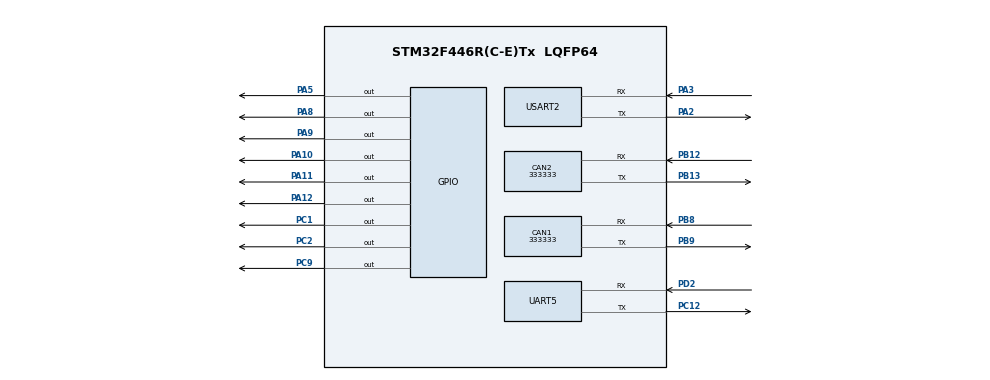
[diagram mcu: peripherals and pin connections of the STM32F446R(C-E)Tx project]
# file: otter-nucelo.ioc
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CAN1.CalculateBaudRate=333333
CAN1.CalculateTimeBit=3000
CAN1.CalculateTimeQuantum=1000.0
CAN2.CalculateBaudRate=333333
CAN2.CalculateTimeBit=3000
CAN2.CalculateTimeQuantum=1000.0
Mcu.Family=STM32F4
Mcu.Name=STM32F446R(C-E)Tx
Mcu.Package=LQFP64
NVIC.PriorityGroup=NVIC_PRIORITYGROUP_4
PA10.Signal=GPIO_Output
PA11.Signal=GPIO_Output
PA12.Signal=GPIO_Output
PA2.Mode=Asynchronous
PA2.Signal=USART2_TX
PA3.Mode=Asynchronous
PA3.Signal=USART2_RX
PA5.Signal=GPIO_Output
PA8.Signal=GPIO_Output
PA9.Signal=GPIO_Output
PB12.Mode=CAN_Activate
PB12.Signal=CAN2_RX
PB13.Mode=CAN_Activate
PB13.Signal=CAN2_TX
PB8.Mode=CAN_Activate
PB8.Signal=CAN1_RX
PB9.Mode=CAN_Activate
PB9.Signal=CAN1_TX
PC1.Signal=GPIO_Output
PC12.Mode=Asynchronous
PC12.Signal=UART5_TX
PC2.Signal=GPIO_Output
PC9.Signal=GPIO_Output
PD2.Mode=Asynchronous
PD2.Signal=UART5_RX
ProjectManager.HeapSize=0x200
ProjectManager.StackSize=0x400
ProjectManager.TargetToolchain=STM32CubeIDE
RCC.CortexFreq_Value=16000000
RCC.USBFreq_Value=96000000
RCC.VCOOutputFreq_Value=192000000
UART5.VirtualMode=Asynchronous
USART2.VirtualMode=VM_ASYNC
board=custom

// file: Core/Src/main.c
/**
  ******************************************************************************
  * @file           : main.c
  * @brief          : Main program body
  ******************************************************************************
  * @attention
  *
  * Copyright (c) 2025 STMicroelectronics.
  * All rights reserved.
  *
  * This software is licensed under terms that can be found in the LICENSE file
  * in the root directory of this software component.
  * If no LICENSE file comes with this software, it is provided AS-IS.
  *
  ******************************************************************************
  */
/* USER CODE END Header */
#include "main.h"
#include "stm32f4xx_hal.h"

CAN_HandleTypeDef hcan1;
CAN_HandleTypeDef hcan2;

UART_HandleTypeDef huart5;
UART_HandleTypeDef huart2;

void SystemClock_Config(void);
static void MX_GPIO_Init(void);
static void MX_CAN1_Init(void);
static void MX_CAN2_Init(void);
static void MX_UART5_Init(void);
static void MX_USART2_UART_Init(void);

int main(void)
{

  /* MCU Configuration--------------------------------------------------------*/

  /* Reset of all peripherals, Initializes the Flash interface and the Systick. */
  HAL_Init();

  /* Configure the system clock */
  SystemClock_Config();

  /* Initialize all configured peripherals */
  MX_GPIO_Init();
  MX_CAN1_Init();
  MX_CAN2_Init();
  MX_UART5_Init();
  MX_USART2_UART_Init();
  /* USER CODE BEGIN 2 */
  HAL_GPIO_TogglePin(GPIOA, GPIO_PIN_5);
  HAL_Delay(1000);
  HAL_GPIO_TogglePin(GPIOA, GPIO_PIN_5);
  // HAL_Delay(1000);
  /* USER CODE END 2 */

  /* Infinite loop */
  /* USER CODE BEGIN WHILE */
  char buffer[] = { 'H', 'e', 'l', 'l', 'o', '\0' }; // Manual

  CAN_FilterTypeDef filterConfig;

  // Set the bits of the 32bit ID Register
    // Note: does not matter what these are since Mask will be 0x00000000
  filterConfig.FilterIdHigh = 0x0000;
  filterConfig.FilterIdLow = 0x0000;

  // Set the bits of the MASK Register. If a bit is set, the corresponding bit of the
    // received ID will be compared with the corresponding bit of the ID Register. If
    // all bits that the mask requies to be checked match, then the CAN ID is accepted.
  filterConfig.FilterMaskIdHigh = 0x0000;
  filterConfig.FilterMaskIdLow = 0x0000;
    // B/c we want to receive all CAN IDs, do not check any bits

  filterConfig.FilterFIFOAssignment = CAN_RX_FIFO0;

  // This struct if for filter bank 0
    // Note: can call the config filter with this struct again but change which
    // bank we are talking about.
  filterConfig.FilterBank = 0;

  // 2 Options: MASK mode or LIST mode
    // Mask mode: use the Mask to compare the bits
    // List mode: you can only compare and accept two CAN IDs (if 32 bit ID register) or four CAN IDs (if two 16 bit regsiters)
  filterConfig.FilterMode = CAN_FILTERMODE_IDMASK;

  // 32 bit ID vs two 16 bit ID register
    // For us does not matter b/c its just all 0s
  filterConfig.FilterScale = CAN_FILTERSCALE_32BIT;

  // Enable this filter bank
  filterConfig.FilterActivation = ENABLE;

  // We are not giving any filters to the slave can (CAN2)
    // We are only using CAN1 and CAN3
  filterConfig.SlaveStartFilterBank = 0;

  HAL_CAN_ConfigFilter(&hcan1, &filterConfig);

  // temp
  HAL_CAN_Start(&hcan1);

  CAN_TxHeaderTypeDef   TxHeader;
  uint32_t              TxMailbox;  // while mailbox gets used is written here
  uint8_t               TxData[8];

  TxHeader.StdId = 0x11;
  TxHeader.RTR = CAN_RTR_DATA;
  TxHeader.IDE = CAN_ID_STD;
  TxHeader.DLC = 2;
  TxHeader.TransmitGlobalTime = DISABLE;

  TxData[0] = 0xCA;
  TxData[1] = 0xFE;

  // while(HAL_CAN_GetTxMailboxesFreeLevel(&hcan1) != 3) {}

  while(1){
    HAL_Delay(100);
    /* Request transmission */

    // Wait for HAL Okay
    HAL_CAN_AddTxMessage(&hcan1, &TxHeader, TxData, &TxMailbox);
    // if(HAL_CAN_AddTxMessage(&hcan1, &TxHeader, TxData, &TxMailbox) != HAL_OK)
    // {
    //   while(1){
    //     HAL_Delay(100);
    //     HAL_GPIO_TogglePin(GPIOA, GPIO_PIN_5);
    //   }
    // }

    // Wait for the transmit to actuall happen
    // while (1) {
    //   uint32_t tsr = READ_REG(hcan1.Instance->TSR);
    //   if (tsr & (CAN_TSR_TXOK0 | CAN_TSR_TXOK1 | CAN_TSR_TXOK2)) break;
    //   HAL_GPIO_TogglePin(GPIOA, GPIO_PIN_5);
    // }

    // Message Sent, toggle LED real quick
    HAL_GPIO_TogglePin(GPIOA, GPIO_PIN_5);
    HAL_Delay(200);
    HAL_GPIO_TogglePin(GPIOA, GPIO_PIN_5);

    // while(HAL_CAN_GetTxMailboxesFreeLevel(&hcan1) != 3) {
    //     HAL_Delay(2000);
    //     HAL_GPIO_TogglePin(GPIOA, GPIO_PIN_5);
    // }

    CAN_RxHeaderTypeDef rxHeader;
    uint8_t rxData[8];

    // Check if there are messages in the FIFO
    if (HAL_CAN_GetRxFifoFillLevel(&hcan1, CAN_RX_FIFO0))
    {
        // Retrieve the received message
        if (HAL_CAN_GetRxMessage(&hcan1, CAN_RX_FIFO0, &rxHeader, rxData) == HAL_OK)
        {
            // Check if the message ID is 0x0FB
            // if (rxHeader.StdId == 0x0FB)
            // {
                // Handle received data (e.g., print, process, etc.)
            for(int i = 0; i < 100; i++){
              HAL_GPIO_TogglePin(GPIOA, GPIO_PIN_5);
              HAL_Delay(10);
            }
            // }
        }
    }

  }

  while (1){

    CAN_RxHeaderTypeDef rxHeader;
    uint8_t rxData[8];

    // Check if there are messages in the FIFO
    if (HAL_CAN_GetRxFifoFillLevel(&hcan1, CAN_RX_FIFO0))
    {
        // Retrieve the received message
        if (HAL_CAN_GetRxMessage(&hcan1, CAN_RX_FIFO0, &rxHeader, rxData) == HAL_OK)
        {
            // Check if the message ID is 0x0FB
            // if (rxHeader.StdId == 0x0FB)
            // {
                // Handle received data (e.g., print, process, etc.)
            HAL_GPIO_TogglePin(GPIOA, GPIO_PIN_5);
            // }
        }
    }

  }

  while (1)
  {
    HAL_Delay(1);

  // (+) HAL_CAN_AddTxMessage             : Add a message to the Tx mailboxes
  //     and activate the corresponding
  //     transmission request
  // (+) HAL_CAN_AbortTxRequest           : Abort transmission request
  // (+) HAL_CAN_GetTxMailboxesFreeLevel  : Return Tx mailboxes free level
  // (+) HAL_CAN_IsTxMessagePending       : Check if a transmission request is
  //     pending on the selected Tx mailbox
  // (+) HAL_CAN_GetRxMessage             : Get a CAN frame from the Rx FIFO

    // HAL_StatusTypeDef HAL_CAN_Start(CAN_HandleTypeDef *hcan)

    // HAL_CAN_AddTxMessage(&hcan1, );
    // HAL_StatusTypeDef HAL_CAN_AddTxMessage(CAN_HandleTypeDef *hcan, const CAN_TxHeaderTypeDef *pHeader,
    //                                         const uint8_t aData[], uint32_t *pTxMailbox)

    // HAL_CAN_GetRXMessage(&hcan1, CAN_RX_FIFO0,
    // HAL_StatusTypeDef HAL_CAN_GetRxMessage(CAN_HandleTypeDef *hcan, uint32_t RxFifo,
                                            // CAN_RxHeaderTypeDef *pHeader, uint8_t aData[])

    // HAL_CAN_Transmit()
    HAL_UART_Transmit(&huart2, (uint8_t*)(&(buffer[4])), 1, 1000);
    HAL_UART_Transmit(&huart2, (uint8_t*)(&(buffer[3])), 1, 1000);
    HAL_UART_Transmit(&huart2, (uint8_t*)(&(buffer[2])), 1, 1000);
    HAL_UART_Transmit(&huart2, (uint8_t*)(&(buffer[1])), 1, 1000);
    HAL_UART_Transmit(&huart2, (uint8_t*)(&(buffer[0])), 1, 1000);
    HAL_GPIO_TogglePin(GPIOA, GPIO_PIN_5);

    /* USER CODE END WHILE */

  }
}

void SystemClock_Config(void)
{
  RCC_OscInitTypeDef RCC_OscInitStruct = {0};
  RCC_ClkInitTypeDef RCC_ClkInitStruct = {0};

  /** Configure the main internal regulator output voltage
  */
  __HAL_RCC_PWR_CLK_ENABLE();
  __HAL_PWR_VOLTAGESCALING_CONFIG(PWR_REGULATOR_VOLTAGE_SCALE3);

  /** Initializes the RCC Oscillators according to the specified parameters
  * in the RCC_OscInitTypeDef structure.
  */
  RCC_OscInitStruct.OscillatorType = RCC_OSCILLATORTYPE_HSI;
  RCC_OscInitStruct.HSIState = RCC_HSI_ON;
  RCC_OscInitStruct.HSICalibrationValue = RCC_HSICALIBRATION_DEFAULT;
  RCC_OscInitStruct.PLL.PLLState = RCC_PLL_NONE;
  if (HAL_RCC_OscConfig(&RCC_OscInitStruct) != HAL_OK)
  {
    Error_Handler();
  }

  /** Initializes the CPU, AHB and APB buses clocks
  */
  RCC_ClkInitStruct.ClockType = RCC_CLOCKTYPE_HCLK|RCC_CLOCKTYPE_SYSCLK
                              |RCC_CLOCKTYPE_PCLK1|RCC_CLOCKTYPE_PCLK2;
  RCC_ClkInitStruct.SYSCLKSource = RCC_SYSCLKSOURCE_HSI;
  RCC_ClkInitStruct.AHBCLKDivider = RCC_SYSCLK_DIV1;
  RCC_ClkInitStruct.APB1CLKDivider = RCC_HCLK_DIV1;
  RCC_ClkInitStruct.APB2CLKDivider = RCC_HCLK_DIV1;

  if (HAL_RCC_ClockConfig(&RCC_ClkInitStruct, FLASH_LATENCY_0) != HAL_OK)
  {
    Error_Handler();
  }
}

static void MX_CAN1_Init(void)
{

  hcan1.Instance = CAN1;
  hcan1.Init.Prescaler = 16;
  hcan1.Init.Mode = CAN_MODE_NORMAL;
  // hcan1.Init.Mode = CAN_MODE_LOOPBACK;
  hcan1.Init.SyncJumpWidth = CAN_SJW_1TQ;
  hcan1.Init.TimeSeg1 = CAN_BS1_1TQ;
  hcan1.Init.TimeSeg2 = CAN_BS2_1TQ;
  hcan1.Init.TimeTriggeredMode = DISABLE;
  hcan1.Init.AutoBusOff = DISABLE;
  hcan1.Init.AutoWakeUp = DISABLE;
  hcan1.Init.AutoRetransmission = ENABLE;
  hcan1.Init.ReceiveFifoLocked = DISABLE;
  hcan1.Init.TransmitFifoPriority = DISABLE;
  if (HAL_CAN_Init(&hcan1) != HAL_OK)
  {
    Error_Handler();
  }

}

static void MX_CAN2_Init(void)
{

  hcan2.Instance = CAN2;
  hcan2.Init.Prescaler = 16;
  hcan2.Init.Mode = CAN_MODE_NORMAL;
  hcan2.Init.SyncJumpWidth = CAN_SJW_1TQ;
  hcan2.Init.TimeSeg1 = CAN_BS1_1TQ;
  hcan2.Init.TimeSeg2 = CAN_BS2_1TQ;
  hcan2.Init.TimeTriggeredMode = DISABLE;
  hcan2.Init.AutoBusOff = DISABLE;
  hcan2.Init.AutoWakeUp = DISABLE;
  hcan2.Init.AutoRetransmission = DISABLE;
  hcan2.Init.ReceiveFifoLocked = DISABLE;
  hcan2.Init.TransmitFifoPriority = DISABLE;
  if (HAL_CAN_Init(&hcan2) != HAL_OK)
  {
    Error_Handler();
  }

}

static void MX_UART5_Init(void)
{

  huart5.Instance = UART5;
  huart5.Init.BaudRate = 115200;
  huart5.Init.WordLength = UART_WORDLENGTH_8B;
  huart5.Init.StopBits = UART_STOPBITS_1;
  huart5.Init.Parity = UART_PARITY_NONE;
  huart5.Init.Mode = UART_MODE_TX_RX;
  huart5.Init.HwFlowCtl = UART_HWCONTROL_NONE;
  huart5.Init.OverSampling = UART_OVERSAMPLING_16;
  if (HAL_UART_Init(&huart5) != HAL_OK)
  {
    Error_Handler();
  }

}

static void MX_USART2_UART_Init(void)
{

  huart2.Instance = USART2;
  huart2.Init.BaudRate = 115200;
  huart2.Init.WordLength = UART_WORDLENGTH_8B;
  huart2.Init.StopBits = UART_STOPBITS_1;
  huart2.Init.Parity = UART_PARITY_NONE;
  huart2.Init.Mode = UART_MODE_TX_RX;
  huart2.Init.HwFlowCtl = UART_HWCONTROL_NONE;
  huart2.Init.OverSampling = UART_OVERSAMPLING_16;
  if (HAL_UART_Init(&huart2) != HAL_OK)
  {
    Error_Handler();
  }

}

static void MX_GPIO_Init(void)
{
  GPIO_InitTypeDef GPIO_InitStruct = {0};

  /* GPIO Ports Clock Enable */
  __HAL_RCC_GPIOC_CLK_ENABLE();
  __HAL_RCC_GPIOA_CLK_ENABLE();
  __HAL_RCC_GPIOB_CLK_ENABLE();
  __HAL_RCC_GPIOD_CLK_ENABLE();

  /*Configure GPIO pin Output Level */
  HAL_GPIO_WritePin(GPIOC, GPIO_PIN_1|GPIO_PIN_2|GPIO_PIN_9, GPIO_PIN_RESET);

  /*Configure GPIO pin Output Level */
  HAL_GPIO_WritePin(GPIOA, GPIO_PIN_5|GPIO_PIN_8|GPIO_PIN_9|GPIO_PIN_10
                          |GPIO_PIN_11|GPIO_PIN_12, GPIO_PIN_RESET);

  /*Configure GPIO pins : PC1 PC2 PC9 */
  GPIO_InitStruct.Pin = GPIO_PIN_1|GPIO_PIN_2|GPIO_PIN_9;
  GPIO_InitStruct.Mode = GPIO_MODE_OUTPUT_PP;
  GPIO_InitStruct.Pull = GPIO_NOPULL;
  GPIO_InitStruct.Speed = GPIO_SPEED_FREQ_LOW;
  HAL_GPIO_Init(GPIOC, &GPIO_InitStruct);

  /*Configure GPIO pins : PA5 PA8 PA9 PA10
                           PA11 PA12 */
  GPIO_InitStruct.Pin = GPIO_PIN_5|GPIO_PIN_8|GPIO_PIN_9|GPIO_PIN_10
                          |GPIO_PIN_11|GPIO_PIN_12;
  GPIO_InitStruct.Mode = GPIO_MODE_OUTPUT_PP;
  GPIO_InitStruct.Pull = GPIO_NOPULL;
  GPIO_InitStruct.Speed = GPIO_SPEED_FREQ_LOW;
  HAL_GPIO_Init(GPIOA, &GPIO_InitStruct);

}

void Error_Handler(void)
{
  __disable_irq();
  while (1)
  {
  }
}
